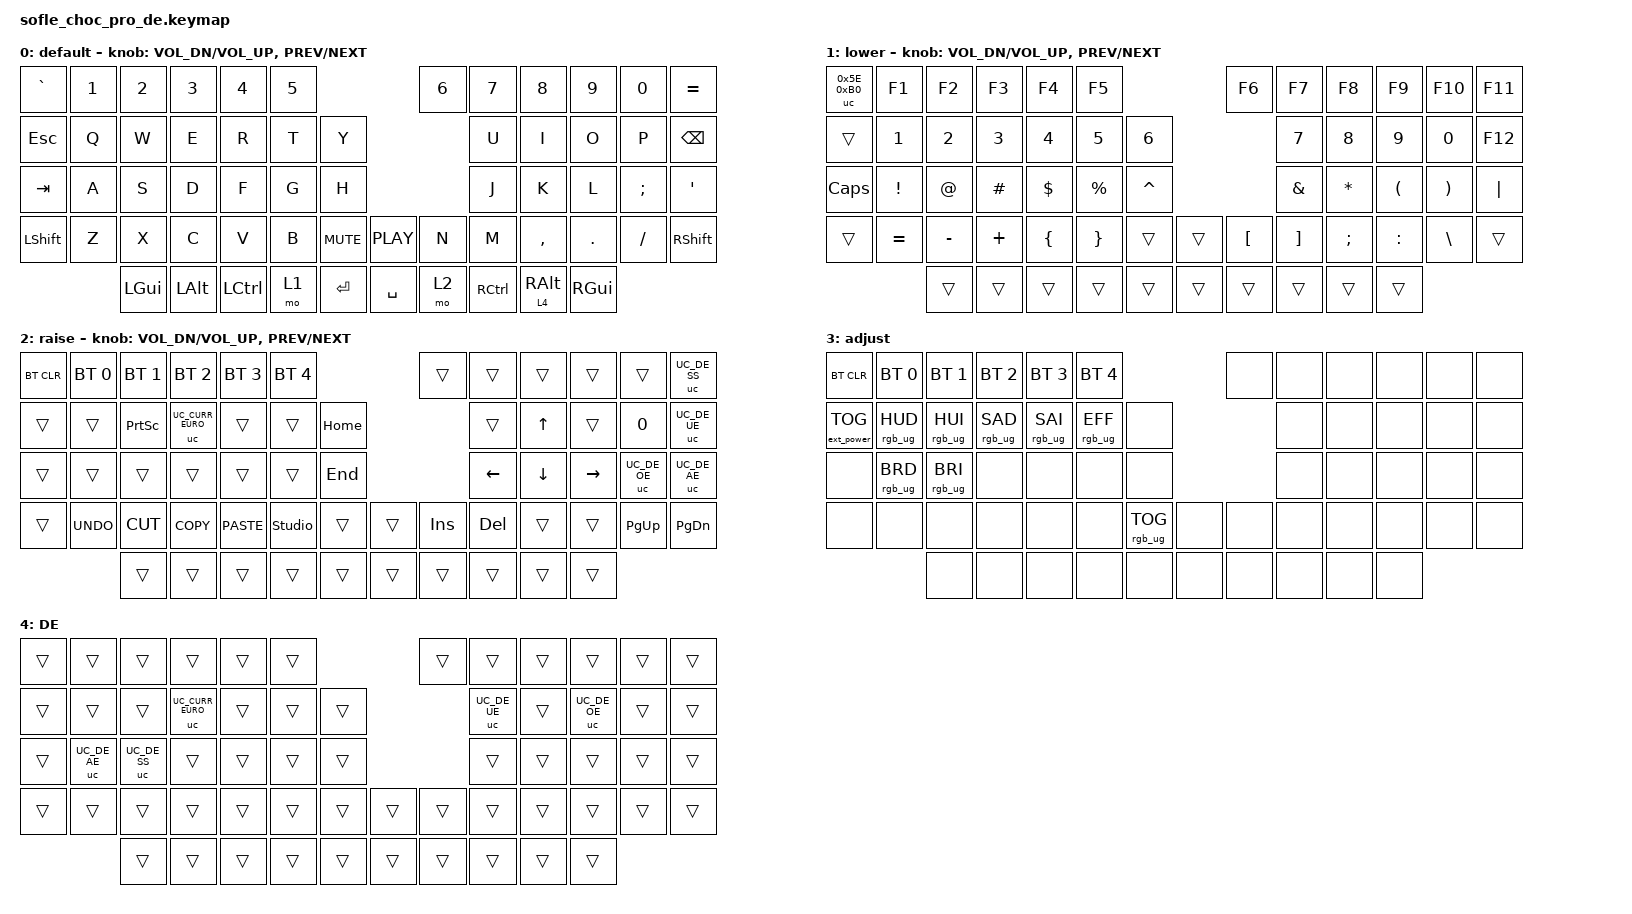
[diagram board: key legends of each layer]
/*
* Copyright (c) 2020 The ZMK Contributors
*
* SPDX-License-Identifier: MIT
*/

#include <behaviors.dtsi>
#include <dt-bindings/zmk/bt.h>
#include <dt-bindings/zmk/ext_power.h>
#include <dt-bindings/zmk/keys.h>
#include <dt-bindings/zmk/rgb.h>
#include <behaviors/unicode.dtsi>

#define BASE 0
#define LOWER 1
#define RAISE 2
#define ADJUST 3

/ {
    // Activate ADJUST layer by pressing raise and lower

    conditional_layers {
        compatible = "zmk,conditional-layers";

        adjust_layer {
            if-layers = <1 2>;
            then-layer = <3>;
        };
    };

    keymap {
        compatible = "zmk,keymap";

        default_layer {
            display-name = "default";

            // ------------------------------------------------------------------------------------------------------------
            // |   `   |  1  |  2  |  3   |  4   |  5   |                   |  6   |  7    |  8    |  9   |   0   |   `   |
            // |  ESC  |  Q  |  W  |  E   |  R   |  T   |                   |  Y   |  U    |  I    |  O   |   P   | BKSPC |
            // |  TAB  |  A  |  S  |  D   |  F   |  G   |                   |  H   |  J    |  K    |  L   |   ;   |   '   |
            // | SHIFT |  Z  |  X  |  C   |  V   |  B   |  MUTE  |  | PLAY  |  N   |  M    |  ,    |  .   |   /   | SHIFT |
            //               | GUI | ALT  | CTRL | LOWER|  ENTER |  | SPACE | RAISE| CTRL  | ALT   | GUI  |

            bindings = <
&kp GRAVE  &kp N1  &kp N2    &kp N3    &kp N4     &kp N5                          &kp N6  &kp N7     &kp N8     &kp N9    &kp N0    &kp EQUAL
&kp ESC    &kp Q   &kp W     &kp E     &kp R      &kp T   &kp Y                           &kp U      &kp I      &kp O     &kp P     &kp BSPC
&kp TAB    &kp A   &kp S     &kp D     &kp F      &kp G   &kp H                           &kp J      &kp K      &kp L     &kp SEMI  &kp SQT
&kp LSHFT  &kp Z   &kp X     &kp C     &kp V      &kp B   &kp C_MUTE  &kp C_PLAY  &kp N   &kp M      &kp COMMA  &kp DOT   &kp FSLH  &kp RSHFT
                   &kp LGUI  &kp LALT  &kp LCTRL  &mo 1   &kp RET     &kp SPACE   &mo 2   &kp RCTRL  &lt 4 RALT &kp RGUI
            >;

            sensor-bindings = <&inc_dec_kp C_VOL_DN C_VOL_UP &inc_dec_kp C_PREV C_NEXT>;
        };

        lower_layer {
            display-name = "lower";

            // ------------------------------------------------------------------------------------------------------------
            // |       |  F1 |  F2 |  F3  |  F4  |  F5  |                   |  F6  |  F7   |  F8   |  F9  |  F10  |  F11  |
            // |   `   |  1  |  2  |  3   |  4   |  5   |                   |  6   |  7    |  8    |  9   |   0   |  F12  |
            // |       |  !  |  @  |  #   |  $   |  %   |                   |  ^   |  &    |  *    |  (   |   )   |   |   |
            // |       |  =  |  -  |  +   |  {   |  }   |        |  |       |  [   |  ]    |  ;    |  :   |   \   |       |
            //               |     |      |      |      |        |  |       |      |       |       |      |

            bindings = <
&uc 0x5E 0xB0      &kp F1           &kp F2           &kp F3            &kp F4           &kp F5                                        &kp F6    &kp F7        &kp F8      &kp F9        &kp F10       &kp F11        
&trans             &kp N1           &kp N2           &kp N3            &kp N4           &kp N5           &kp N6                                 &kp N7        &kp N8      &kp N9        &kp N0        &kp F12        
&kp CAPS           &kp EXCL         &kp AT           &kp HASH          &kp DLLR         &kp PRCNT        &kp CARET                              &kp AMPS      &kp ASTRK   &kp LPAR      &kp RPAR      &kp PIPE       
&trans             &kp EQUAL        &kp MINUS        &kp PLUS          &kp LBRC         &kp RBRC         &trans           &trans      &kp LBKT  &kp RBKT      &kp SEMI    &kp COLON     &kp BSLH      &trans         
                                    &trans           &trans            &trans           &trans           &trans           &trans      &trans    &trans        &trans      &trans       
>;

            sensor-bindings = <&inc_dec_kp C_VOL_DN C_VOL_UP &inc_dec_kp C_PREV C_NEXT>;
        };

        raise_layer {
            display-name = "raise";

            // ------------------------------------------------------------------------------------------------------------
            // | BTCLR | BT1  | BT2  |  BT3  |  BT4  |  BT5 |                |      |      |       |      |       |       |
            // |       | INS  | PSCR | GUI   |       |      |                | PGUP |      |   ^   |      |       |       |
            // |       | ALT  | CTRL | SHIFT |       | CAPS |                | PGDN |   <- |   v   |  ->  |  DEL  | BKSPC |
            // |       | UNDO | CUT  | COPY  | PASTE |      |      |  |      |      |      |       |      |       |       |
            //                |      |       |       |      |      |  |      |      |      |       |      |

            bindings = <
&bt BT_CLR         &bt BT_SEL 0     &bt BT_SEL 1     &bt BT_SEL 2      &bt BT_SEL 3     &bt BT_SEL 4                                  &trans    &trans        &trans      &trans        &trans        &uc UC_DE_SS   
&trans             &trans           &kp PSCRN        &uc UC_CURR_EURO  &trans           &trans           &kp HOME                               &trans        &kp UP      &trans        &kp N0        &uc UC_DE_UE   
&trans             &trans           &trans           &trans            &trans           &trans           &kp END                                &kp LEFT      &kp DOWN    &kp RIGHT     &uc UC_DE_OE  &uc UC_DE_AE   
&trans             &kp K_UNDO       &kp K_CUT        &kp K_COPY        &kp K_PASTE      &studio_unlock   &trans           &trans      &kp INS   &kp DEL       &trans      &trans        &kp PG_UP     &kp PAGE_DOWN  
                                    &trans           &trans            &trans           &trans           &trans           &trans      &trans    &trans        &trans      &trans       
>;

            sensor-bindings = <&inc_dec_kp C_VOL_DN C_VOL_UP &inc_dec_kp C_PREV C_NEXT>;
        };

        adjust_layer {
            // ----------------------------------------------------------------------------------------------------------------------------
            // | BTCLR  |  BT1    |  BT2    |   BT3   |   BT4   |   BT5   |                  |      |      |       |      |       |       |
            // | EXTPWR | RGB_HUD | RGB_HUI | RGB_SAD | RGB_SAI | RGB_EFF |                  |      |      |       |      |       |       |
            // |        | RGB_BRD | RGB_BRI |         |         |         |                  |      |      |       |      |       |       |
            // |        |         |         |         |         |         | RGB_TOG | |      |      |      |       |      |       |       |
            //                    |         |         |         |         |         | |      |      |      |       |      |

            display-name = "adjust";
            bindings = <
&bt BT_CLR         &bt BT_SEL 0     &bt BT_SEL 1     &bt BT_SEL 2     &bt BT_SEL 3     &bt BT_SEL 4                             &none  &none  &none  &none  &none  &none
&ext_power EP_TOG  &rgb_ug RGB_HUD  &rgb_ug RGB_HUI  &rgb_ug RGB_SAD  &rgb_ug RGB_SAI  &rgb_ug RGB_EFF  &none                          &none  &none  &none  &none  &none
&none              &rgb_ug RGB_BRD  &rgb_ug RGB_BRI  &none            &none            &none            &none                          &none  &none  &none  &none  &none
&none              &none            &none            &none            &none            &none            &rgb_ug RGB_TOG  &none  &none  &none  &none  &none  &none  &none
                                    &none            &none            &none            &none            &none            &none  &none  &none  &none  &none
            >;
        };

        de_layer {
            display-name = "DE";
            // Hold the right thumb Alt key and press the base letter.
            // A -> ae, S -> sharp s, E -> euro, U -> ue, O -> oe.
            // Shift produces the corresponding uppercase character.
            bindings = <
&trans  &trans       &trans       &trans             &trans &trans &trans                          &trans       &trans &trans       &trans &trans
&trans  &trans       &trans       &uc UC_CURR_EURO   &trans &trans &trans                          &uc UC_DE_UE &trans &uc UC_DE_OE &trans &trans
&trans  &uc UC_DE_AE &uc UC_DE_SS &trans             &trans &trans &trans                          &trans       &trans &trans       &trans &trans
&trans  &trans       &trans       &trans             &trans &trans &trans         &trans  &trans       &trans &trans &trans &trans &trans
                          &trans       &trans       &trans             &trans &trans &trans  &trans  &trans       &trans &trans
            >;
        };
    };
};
